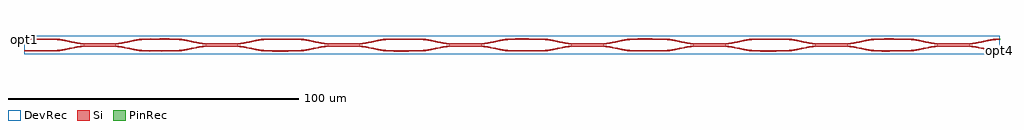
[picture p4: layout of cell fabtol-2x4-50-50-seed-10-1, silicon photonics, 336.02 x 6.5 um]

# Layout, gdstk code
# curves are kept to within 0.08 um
import gdstk
lib = gdstk.Library(unit=1e-6, precision=1e-09)
def R(c, l, rs):  # rectangles x0, y0, x1, y1
    for r in rs: c.add(gdstk.rectangle(r[:2], r[2:], *l))
def P(c, l, *ps):  # polygons
    for p in ps: c.add(gdstk.Polygon(p, *l))
Si = (1, 0)
PinRec = (1, 10)
DevRec = (68, 0)

layer_3_0_phase_sec_2_3 = lib.new_cell('layer-3_0_phase_sec_2$3')
P(layer_3_0_phase_sec_2_3, Si, [(4.392,-0.241),(0,-0.225),(0,0.225),(10,0.225),(10,-0.225)])

layer_0_0_phase_sec_0_3 = lib.new_cell('layer-0_0_phase_sec_0$3')
P(layer_0_0_phase_sec_0_3, Si, [(2.381,-0.228),(0,-0.225),(0,0.225),(10,0.225),(10,-0.225)])

layer_0_0_phase_sec_1_3 = lib.new_cell('layer-0_0_phase_sec_1$3')
P(layer_0_0_phase_sec_1_3, Si, [(4.027,-0.23),(0,-0.225),(0,0.225),(10,0.225),(10,-0.225)])

layer_0_0_phase_sec_3_3 = lib.new_cell('layer-0_0_phase_sec_3$3')
P(layer_0_0_phase_sec_3_3, Si, [(1.359,-0.237),(0,-0.225),(0,0.225),(10,0.225),(10,-0.225)])

layer_3_0_phase_sec_0_3 = lib.new_cell('layer-3_0_phase_sec_0$3')
P(layer_3_0_phase_sec_0_3, Si, [(5.836,-0.236),(0,-0.225),(0,0.225),(10,0.225),(10,-0.225)])

dc_arm_down_3 = lib.new_cell('dc_arm_down$3')
R(dc_arm_down_3, Si, [(12,-0.55,20,-0.1)])
P(dc_arm_down_3, Si, [(32,-2.225),(30.861,-2.188),(29.344,-2.033),(22.966,-0.793),(21.481,-0.613),(20,-0.55),(20,-0.1),(21.139,-0.137),(22.656,-0.292),(29.034,-1.532),(30.519,-1.712),(32,-1.775)],
  [(0,-2.225),(0,-1.775),(1.481,-1.712),(2.966,-1.532),(9.344,-0.292),(10.861,-0.137),(12,-0.1),(12,-0.55),(10.519,-0.613),(9.034,-0.793),(2.656,-2.033),(1.139,-2.188)])

dc_arm_up_3 = lib.new_cell('dc_arm_up$3')
R(dc_arm_up_3, Si, [(12,0.1,20,0.55)])
P(dc_arm_up_3, Si, [(20,0.1),(20,0.55),(21.481,0.613),(22.966,0.793),(29.344,2.033),(30.861,2.188),(32,2.225),(32,1.775),(30.519,1.712),(29.034,1.532),(22.656,0.292),(21.139,0.137)],
  [(12,0.1),(10.861,0.137),(9.344,0.292),(2.966,1.532),(1.481,1.712),(0,1.775),(0,2.225),(1.139,2.188),(2.656,2.033),(9.034,0.793),(10.519,0.613),(12,0.55)])

dc_3 = lib.new_cell('dc$3')
dc_3.add(gdstk.Reference(dc_arm_down_3, (0,0)))
dc_3.add(gdstk.Reference(dc_arm_up_3, (0,0)))

layer_1_0_phase_sec_1_3 = lib.new_cell('layer-1_0_phase_sec_1$3')
P(layer_1_0_phase_sec_1_3, Si, [(4.158,-0.247),(0,-0.225),(0,0.225),(10,0.225),(10,-0.225)])

layer_3_0_phase_sec_1_3 = lib.new_cell('layer-3_0_phase_sec_1$3')
P(layer_3_0_phase_sec_1_3, Si, [(1.399,-0.243),(0,-0.225),(0,0.225),(10,0.225),(10,-0.225)])

layer_1_0_phase_sec_2_3 = lib.new_cell('layer-1_0_phase_sec_2$3')
P(layer_1_0_phase_sec_2_3, Si, [(4.022,-0.237),(0,-0.225),(0,0.225),(10,0.225),(10,-0.225)])

layer_2_0_phase_sec_2_3 = lib.new_cell('layer-2_0_phase_sec_2$3')
P(layer_2_0_phase_sec_2_3, Si, [(1.272,-0.249),(0,-0.225),(0,0.225),(10,0.225),(10,-0.225)])

layer_1_0_phase_sec_3_3 = lib.new_cell('layer-1_0_phase_sec_3$3')
P(layer_1_0_phase_sec_3_3, Si, [(2.612,-0.241),(0,-0.225),(0,0.225),(10,0.225),(10,-0.225)])

layer_3_0_phase_sec_3_3 = lib.new_cell('layer-3_0_phase_sec_3$3')
P(layer_3_0_phase_sec_3_3, Si, [(1.331,-0.238),(0,-0.225),(0,0.225),(10,0.225),(10,-0.225)])

layer_2_0_phase_sec_0_3 = lib.new_cell('layer-2_0_phase_sec_0$3')
P(layer_2_0_phase_sec_0_3, Si, [(3.484,-0.244),(0,-0.225),(0,0.225),(10,0.225),(10,-0.225)])

layer_0_0_phase_sec_2_3 = lib.new_cell('layer-0_0_phase_sec_2$3')
P(layer_0_0_phase_sec_2_3, Si, [(7.938,-0.241),(0,-0.225),(0,0.225),(10,0.225),(10,-0.225)])

layer_2_0_phase_sec_1_3 = lib.new_cell('layer-2_0_phase_sec_1$3')
P(layer_2_0_phase_sec_1_3, Si, [(1.365,-0.234),(0,-0.225),(0,0.225),(10,0.225),(10,-0.225)])

layer_1_0_phase_sec_0_3 = lib.new_cell('layer-1_0_phase_sec_0$3')
P(layer_1_0_phase_sec_0_3, Si, [(3.201,-0.231),(0,-0.225),(0,0.225),(10,0.225),(10,-0.225)])

layer_2_0_phase_sec_3_3 = lib.new_cell('layer-2_0_phase_sec_3$3')
P(layer_2_0_phase_sec_3_3, Si, [(3.227,-0.229),(0,-0.225),(0,0.225),(10,0.225),(10,-0.225)])

fabtol_2x4_50_50_seed_10 = lib.new_cell('fabtol-2x4-50-50-seed-10-1')
R(fabtol_2x4_50_50_seed_10, DevRec, [(0,-1,336,5.496)])
fabtol_2x4_50_50_seed_10.add(gdstk.FlexPath([(335.99,0.247),(336.01,0.247)], 0.45, ends="flush", simple_path=True, layer=1, datatype=10))  # PinRec
fabtol_2x4_50_50_seed_10.add(gdstk.FlexPath([(335.99,4.247),(336.01,4.247)], 0.45, ends="flush", simple_path=True, layer=1, datatype=10))  # PinRec
fabtol_2x4_50_50_seed_10.add(gdstk.FlexPath([(0.01,4.247),(-0.01,4.247)], 0.45, ends="flush", simple_path=True, layer=1, datatype=10))  # PinRec
fabtol_2x4_50_50_seed_10.add(gdstk.Reference(layer_3_0_phase_sec_2_3, (294,4.247)))
fabtol_2x4_50_50_seed_10.add(gdstk.Reference(layer_0_0_phase_sec_0_3, (0,4.247)))
fabtol_2x4_50_50_seed_10.add(gdstk.Reference(layer_0_0_phase_sec_1_3, (0,0.247)))
fabtol_2x4_50_50_seed_10.add(gdstk.Reference(layer_0_0_phase_sec_3_3, (42,0.247)))
fabtol_2x4_50_50_seed_10.add(gdstk.Reference(layer_3_0_phase_sec_0_3, (252,4.247)))
fabtol_2x4_50_50_seed_10.add(gdstk.Reference(dc_3, (10,2.247)))
fabtol_2x4_50_50_seed_10.add(gdstk.Reference(dc_3, (52,2.247)))
fabtol_2x4_50_50_seed_10.add(gdstk.Reference(dc_3, (94,2.247)))
fabtol_2x4_50_50_seed_10.add(gdstk.Reference(dc_3, (136,2.247)))
fabtol_2x4_50_50_seed_10.add(gdstk.Reference(dc_3, (178,2.247)))
fabtol_2x4_50_50_seed_10.add(gdstk.Reference(dc_3, (220,2.247)))
fabtol_2x4_50_50_seed_10.add(gdstk.Reference(dc_3, (262,2.247)))
fabtol_2x4_50_50_seed_10.add(gdstk.Reference(dc_3, (304,2.247)))
fabtol_2x4_50_50_seed_10.add(gdstk.Reference(layer_1_0_phase_sec_1_3, (84,0.247)))
fabtol_2x4_50_50_seed_10.add(gdstk.Reference(layer_3_0_phase_sec_1_3, (252,0.247)))
fabtol_2x4_50_50_seed_10.add(gdstk.Reference(layer_1_0_phase_sec_2_3, (126,4.247)))
fabtol_2x4_50_50_seed_10.add(gdstk.Reference(layer_2_0_phase_sec_2_3, (210,4.247)))
fabtol_2x4_50_50_seed_10.add(gdstk.Reference(layer_1_0_phase_sec_3_3, (126,0.247)))
fabtol_2x4_50_50_seed_10.add(gdstk.Reference(layer_3_0_phase_sec_3_3, (294,0.247)))
fabtol_2x4_50_50_seed_10.add(gdstk.Reference(layer_2_0_phase_sec_0_3, (168,4.247)))
fabtol_2x4_50_50_seed_10.add(gdstk.Reference(layer_0_0_phase_sec_2_3, (42,4.247)))
fabtol_2x4_50_50_seed_10.add(gdstk.Reference(layer_2_0_phase_sec_1_3, (168,0.247)))
fabtol_2x4_50_50_seed_10.add(gdstk.Reference(layer_1_0_phase_sec_0_3, (84,4.247)))
fabtol_2x4_50_50_seed_10.add(gdstk.Reference(layer_2_0_phase_sec_3_3, (210,0.247)))
fabtol_2x4_50_50_seed_10.add(gdstk.Label('opt4', (336,0.247), layer=1, texttype=10))
fabtol_2x4_50_50_seed_10.add(gdstk.Label('opt3', (336,4.247), layer=1, texttype=10))
fabtol_2x4_50_50_seed_10.add(gdstk.Label('opt1', (0,4.247), layer=1, texttype=10))

lib.write_gds('fabtol-2x4-50-50-seed-10-1.gds')
